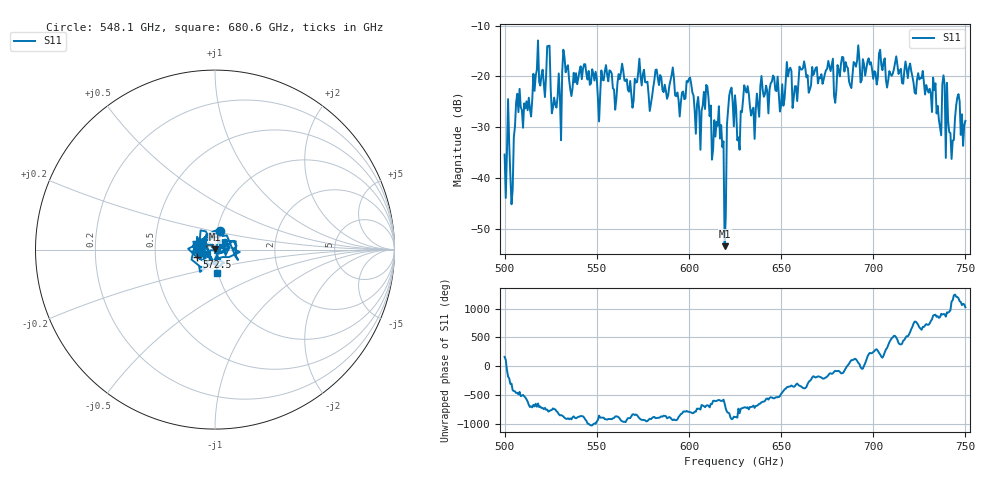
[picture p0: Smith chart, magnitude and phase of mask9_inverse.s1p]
!Created with skrf (http://scikit-rf.org).
# GHz S MA R 50.0
!freq magS11 angS11
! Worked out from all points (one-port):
!   401 points, 500 GHz to 750 GHz, reference 50 ohm
!   lowest |S11| = -53.5 dB at 619.4 GHz (marker M1), VSWR 1.00, Z = 50.1 + j0.205 ohm
!   |S11| at or under -10 dB: start of sweep to end of sweep
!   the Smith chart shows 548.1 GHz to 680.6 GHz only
!   S11 on the Smith chart (normalised r, x): 548.1 GHz: 1.03, +0.22; 572.5 GHz: 0.81, -0.07; 680.6 GHz: 0.99, -0.26
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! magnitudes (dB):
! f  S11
! 500 GHz  -35.4
! 503.8 GHz  -45.2
! 506.9 GHz  -23.4
! 513.8 GHz  -26.5
! 516.9 GHz  -19.9
! 523.8 GHz  -14.1
! 526.9 GHz  -24.2
! 531.2 GHz  -19.0
! 548.1 GHz  -19.4
! 562.5 GHz  -20.5
! 572.5 GHz  -19.2
! 593.8 GHz  -23.2
! 600 GHz  -20.5
! 605 GHz  -24.0
! 609.4 GHz  -21.7
! 617.5 GHz  -29.6
! 619.4 GHz  -53.5
! 621.9 GHz  -23.8
! 625 GHz  -23.7
! 656.2 GHz  -26.2
! 680.6 GHz  -17.8
! 687.5 GHz  -21.8
! 718.8 GHz  -20.3
! 735.6 GHz  -28.6
! 738.8 GHz  -21.7
! 742.5 GHz  -36.3
! 745.6 GHz  -24.1
! 750 GHz  -28.8
